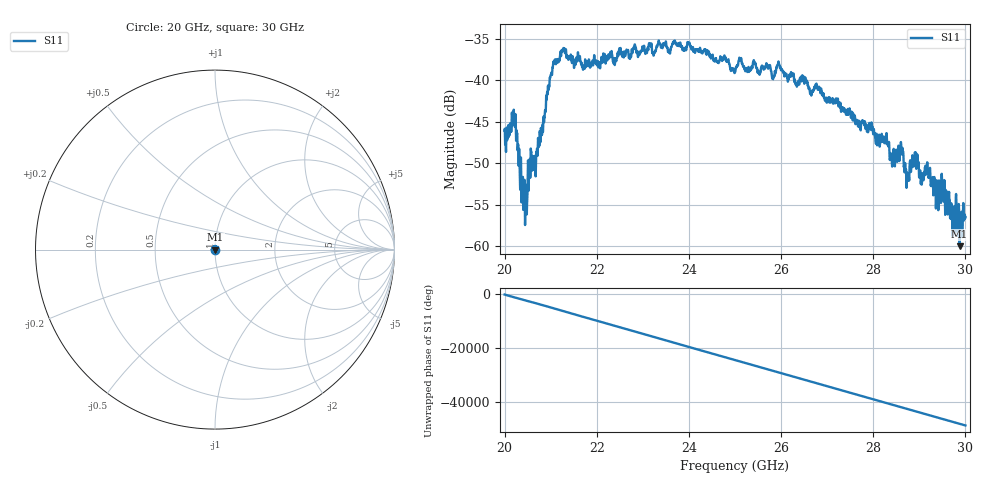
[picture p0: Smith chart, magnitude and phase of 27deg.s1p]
#  HZ  S  RI  R  50.00
! Rohde & Schwarz ZVA40 4Ports - Version 3.90 - 1145.1110k42 SN: 100403
! Date: 2023-10-03 10:32:43
! Measurement: S12
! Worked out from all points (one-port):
!   5001 points, 20 GHz to 30 GHz, reference 50 ohm
!   lowest |S11| = -60.0 dB at 29.87 GHz (marker M1), VSWR 1.00, Z = 50.1 - j0.0479 ohm
!   |S11| at or under -10 dB: start of sweep to end of sweep
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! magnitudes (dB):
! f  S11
! 20 GHz  -46.1
! 20.2 GHz  -44.7
! 20.37 GHz  -53.8
! 20.45 GHz  -54.3
! 20.55 GHz  -51.1
! 20.67 GHz  -50.3
! 20.82 GHz  -45.5
! 21.03 GHz  -39.4
! 21.25 GHz  -36.6
! 21.72 GHz  -38.5
! 22.5 GHz  -36.6
! 23.75 GHz  -35.7
! 25 GHz  -39.0
! 25.12 GHz  -37.6
! 26.25 GHz  -39.2
! 27.5 GHz  -43.8
! 28.3 GHz  -47.5
! 28.42 GHz  -49.4
! 28.6 GHz  -47.7
! 28.75 GHz  -51.4
! 28.94 GHz  -50.6
! 29.04 GHz  -51.8
! 29.19 GHz  -51.1
! 29.38 GHz  -52.1
! 29.53 GHz  -53.8
! 29.71 GHz  -56.2
! 29.87 GHz  -60.0
! 30 GHz  -56.5
